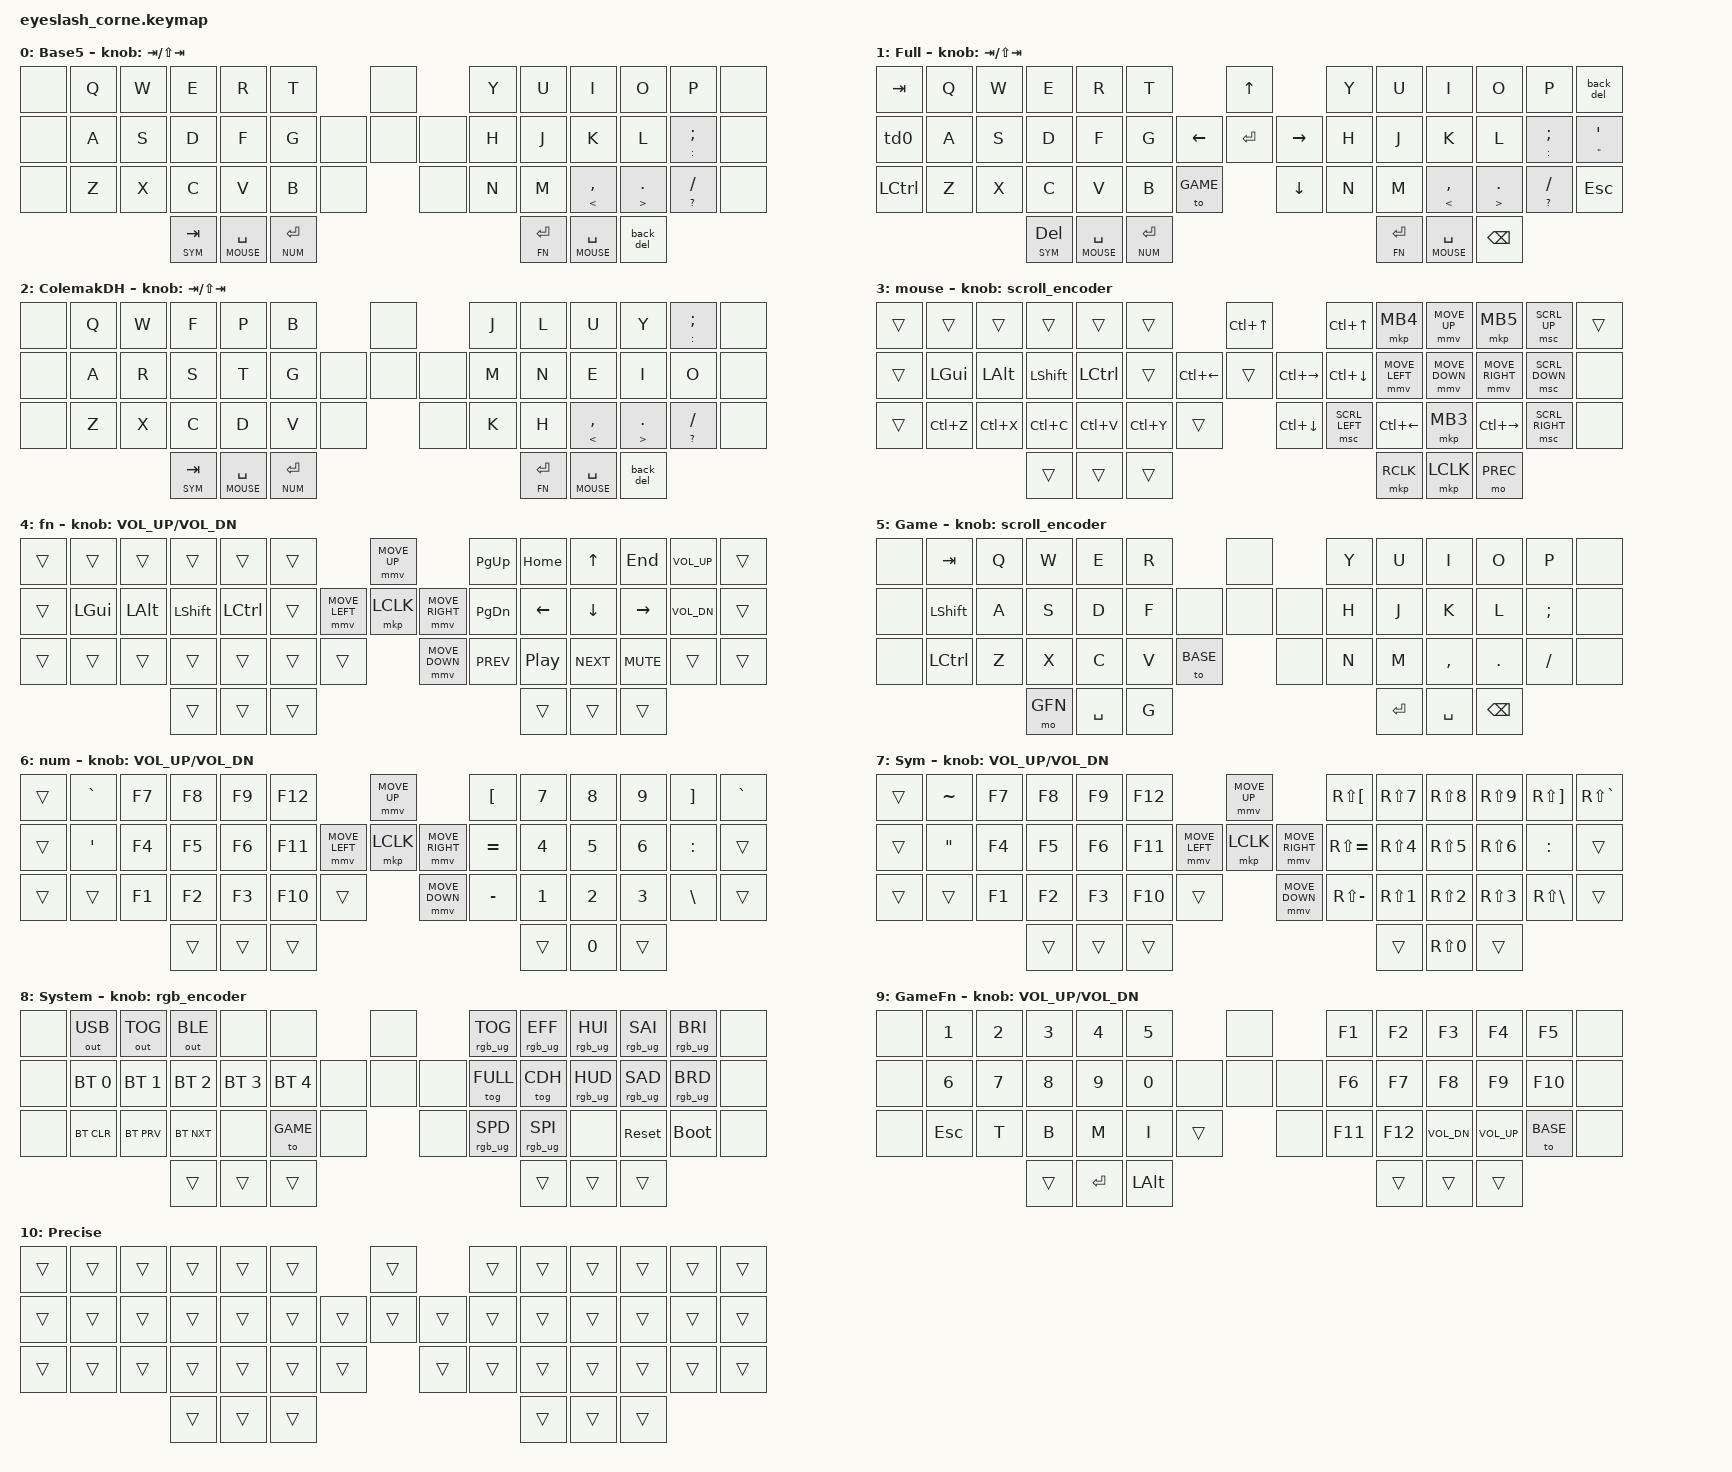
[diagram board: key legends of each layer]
#define ZMK_POINTING_DEFAULT_MOVE_VAL 1800
#define ZMK_POINTING_DEFAULT_SCRL_VAL 12

#include <input/processors.dtsi>
#include <zephyr/dt-bindings/input/input-event-codes.h>
#include <behaviors.dtsi>
#include <dt-bindings/zmk/bt.h>
#include <dt-bindings/zmk/keys.h>
#include <dt-bindings/zmk/outputs.h>
#include <dt-bindings/zmk/pointing.h>
#include <dt-bindings/zmk/rgb.h>

#define BASE 0
#define FULL 1
#define CDH 2
#define MOUSE 3
#define FN 4
#define GAME 5
#define NUM 6
#define SYM 7
#define SYS 8
#define GFN 9
#define PREC 10

&mmv_input_listener {
    input-processors = <&zip_xy_scaler 1 1>;

    precise {
        layers = <PREC>;
        input-processors = <&zip_xy_scaler 1 3>;
    };
};

&msc_input_listener { input-processors = <&zip_scroll_scaler 1 1>; };

&msc {
    acceleration-exponent = <1>;
    time-to-max-speed-ms = <350>;
    delay-ms = <0>;
};

&mmv {
    time-to-max-speed-ms = <400>;
    acceleration-exponent = <2>;
    delay-ms = <0>;
    trigger-period-ms = <16>;
};

/ {
    behaviors {
        back_del: back_del {
            compatible = "zmk,behavior-mod-morph";
            label = "BACK_DEL";
            bindings = <&kp BACKSPACE>, <&kp DELETE>;

            #binding-cells = <0>;
            mods = <(MOD_RSFT|MOD_LSFT)>;
        };

        td0: td0 {
            compatible = "zmk,behavior-tap-dance";
            #binding-cells = <0>;
            bindings = <&kp LEFT_SHIFT>, <&kp CAPSLOCK>;
        };

        tog_to: tog_to {
            compatible = "zmk,behavior-hold-tap";
            label = "TOG_TO";
            bindings = <&to>, <&tog>;

            #binding-cells = <2>;
            tapping-term-ms = <100>;
            flavor = "balanced";
        };

        rotary_hue: rotary_hue {
            compatible = "zmk,behavior-sensor-rotate";
            #sensor-binding-cells = <0>;
            bindings = <&rgb_ug RGB_HUI>, <&rgb_ug RGB_HUD>;

            label = "ROTARY_HUE";
        };

        enc_scroll: enc_scroll {
            compatible = "zmk,behavior-input-two-axis";
            #binding-cells = <1>;
            x-input-code = <INPUT_REL_HWHEEL>;
            y-input-code = <INPUT_REL_WHEEL>;
            time-to-max-speed-ms = <300>;
            acceleration-exponent = <0>;
        };

        rgb_tap_hold: rgb_tap_hold {
            compatible = "zmk,behavior-hold-tap";
            label = "RGB_TAP_HOLD";
            bindings = <&rgb_ug>, <&rgb_ug>;

            #binding-cells = <2>;
            tapping-term-ms = <100>;
            flavor = "tap-preferred";
        };
    };

    rgb_encoder: rgb_encoder {
        compatible = "zmk,behavior-sensor-rotate";
        #sensor-binding-cells = <0>;
        bindings = <&rgb_ug RGB_BRI>, <&rgb_ug RGB_BRD>;
    };

    scroll_encoder: scroll_encoder {
        compatible = "zmk,behavior-sensor-rotate";
        #sensor-binding-cells = <0>;
        bindings = <&enc_scroll SCRL_DOWN>, <&enc_scroll SCRL_UP>;

        tap-ms = <100>;
    };

    enc_scroll_listener {
        compatible = "zmk,input-listener";
        device = <&enc_scroll>;
    };

    conditional_layers {
        compatible = "zmk,conditional-layers";

        sys_combo_layer {
            if-layers = <FN NUM>;
            then-layer = <SYS>;
        };
    };

    combos {
        compatible = "zmk,combos";

        combo_esc {
            bindings = <&kp ESCAPE>;
            key-positions = <1 2>;
            layers = <BASE FULL CDH>;
            require-prior-idle-ms = <150>;
        };

        combo_leftLP {
            bindings = <&kp LEFT_PARENTHESIS>;
            key-positions = <17 18>;
            layers = <BASE FULL CDH>;
            require-prior-idle-ms = <150>;
        };

        combo_rightPT {
            bindings = <&kp RIGHT_PARENTHESIS>;
            key-positions = <22 23>;
            layers = <BASE FULL CDH>;
            require-prior-idle-ms = <150>;
        };

        combo_leftBR {
            bindings = <&kp LEFT_BRACE>;
            key-positions = <32 33>;
            layers = <BASE FULL CDH>;
            require-prior-idle-ms = <150>;
        };

        combo_rightBR {
            bindings = <&kp RIGHT_BRACE>;
            key-positions = <36 37>;
            layers = <BASE FULL CDH>;
            require-prior-idle-ms = <150>;
        };

        combo_leftBT {
            bindings = <&kp LEFT_BRACKET>;
            key-positions = <4 5>;
            layers = <BASE FULL CDH>;
            require-prior-idle-ms = <150>;
        };

        combo_rightBT {
            bindings = <&kp RIGHT_BRACKET>;
            key-positions = <7 8>;
            layers = <BASE FULL CDH>;
            require-prior-idle-ms = <150>;
        };

        combo_backslash {
            bindings = <&kp BACKSLASH>;
            key-positions = <39 40>;
            layers = <BASE FULL CDH>;
            require-prior-idle-ms = <150>;
        };

        combo_pipe {
            bindings = <&kp PIPE>;
            key-positions = <38 39>;
            layers = <BASE FULL CDH>;
            require-prior-idle-ms = <150>;
        };

        combo_quote {
            bindings = <&mt DOUBLE_QUOTES APOS>;
            key-positions = <10 11>;
            layers = <BASE FULL CDH>;
            require-prior-idle-ms = <150>;
        };

        LeftControl {
            bindings = <&kp LCTRL>;
            key-positions = <14 15>;
            layers = <BASE FULL CDH>;
        };

        LeftShift {
            bindings = <&td0>;
            key-positions = <15 16>;
            layers = <BASE FULL CDH>;
        };

        LeftAlt {
            bindings = <&kp LEFT_ALT>;
            key-positions = <16 17>;
            layers = <BASE FULL CDH>;
        };

        LeftGUI {
            bindings = <&kp LEFT_WIN>;
            key-positions = <14 17>;
            layers = <BASE FULL CDH>;
        };

        RightShift {
            bindings = <&td0>;
            key-positions = <24 25>;
            layers = <BASE FULL CDH>;
        };

        RightControl {
            bindings = <&kp RCTRL>;
            key-positions = <25 26>;
            layers = <BASE FULL CDH>;
        };

        RightAlt {
            bindings = <&kp RIGHT_ALT>;
            key-positions = <23 24>;
            layers = <BASE FULL CDH>;
        };

        RightGUI {
            bindings = <&kp LEFT_WIN>;
            key-positions = <23 26>;
            layers = <BASE FULL CDH>;
        };
    };

    keymap {
        compatible = "zmk,keymap";

        base5_layer {
            display-name = "Base5";
            bindings = <
&none  &kp Q  &kp W  &kp E  &kp R  &kp T                 &none                 &kp Y  &kp U  &kp I                &kp O                    &kp P               &none
&none  &kp A  &kp S  &kp D  &kp F  &kp G         &none    &none    &none        &kp H  &kp J  &kp K                &kp L                    &mt COLON SEMI      &none
&none  &kp Z  &kp X  &kp C  &kp V  &kp B         &none             &none        &kp N  &kp M  &mt LESS_THAN COMMA  &mt GREATER_THAN PERIOD  &mt QUESTION SLASH  &none
                       &lt SYM TAB  &lt MOUSE SPACE  &lt NUM ENTER                &lt FN RETURN  &lt MOUSE SPACE  &back_del
            >;

            sensor-bindings = <&inc_dec_kp TAB LS(TAB)>;
        };

        full_layer {
            display-name = "Full";
            bindings = <
&kp TAB           &kp Q  &kp W  &kp E  &kp R  &kp T                           &kp UP                &kp Y  &kp U  &kp I                &kp O                    &kp P               &back_del
&td0              &kp A  &kp S  &kp D  &kp F  &kp G                 &kp LEFT  &kp ENTER  &kp RIGHT  &kp H  &kp J  &kp K                &kp L                    &mt COLON SEMI      &mt DOUBLE_QUOTES APOS
&kp LEFT_CONTROL  &kp Z  &kp X  &kp C  &kp V  &kp B        &to GAME           &kp DOWN              &kp N  &kp M  &mt LESS_THAN COMMA  &mt GREATER_THAN PERIOD  &mt QUESTION SLASH  &kp ESCAPE
                                &lt SYM DELETE  &lt MOUSE SPACE  &lt NUM ENTER                        &lt FN RETURN  &lt MOUSE SPACE  &kp BACKSPACE
            >;

            sensor-bindings = <&inc_dec_kp TAB LS(TAB)>;
        };

        colemak_dh_layer {
            display-name = "ColemakDH";
            bindings = <
&none  &kp Q  &kp W  &kp F  &kp P  &kp B                 &none                 &kp J  &kp L  &kp U                &kp Y                    &mt COLON SEMI      &none
&none  &kp A  &kp R  &kp S  &kp T  &kp G         &none    &none    &none        &kp M  &kp N  &kp E                &kp I                    &kp O               &none
&none  &kp Z  &kp X  &kp C  &kp D  &kp V         &none             &none        &kp K  &kp H  &mt LESS_THAN COMMA  &mt GREATER_THAN PERIOD  &mt QUESTION SLASH  &none
                       &lt SYM TAB  &lt MOUSE SPACE  &lt NUM ENTER                &lt FN RETURN  &lt MOUSE SPACE  &back_del
            >;

            sensor-bindings = <&inc_dec_kp TAB LS(TAB)>;
        };

        mouse_layer {
            display-name = "mouse";
            bindings = <
&trans  &trans     &trans     &trans     &trans     &trans                                &kp LC(UP_ARROW)                 &kp LC(UP)      &mkp MB4        &mmv MOVE_UP    &mkp MB5         &msc SCRL_UP     &trans
&trans  &kp LGUI   &kp LALT   &kp LSHFT  &kp LCTRL  &trans                  &kp LC(LEFT)  &trans            &kp LC(RIGHT)  &kp LC(DOWN)    &mmv MOVE_LEFT  &mmv MOVE_DOWN  &mmv MOVE_RIGHT  &msc SCRL_DOWN   &none
&trans  &kp LC(Z)  &kp LC(X)  &kp LC(C)  &kp LC(V)  &kp LC(Y)      &trans                  &kp LC(DOWN)                     &msc SCRL_LEFT  &kp LC(LEFT)    &mkp MB3        &kp LC(RIGHT)    &msc SCRL_RIGHT  &none
                              &trans        &trans     &trans                                                                  &mkp RCLK       &mkp LCLK       &mo PREC
            >;

            sensor-bindings = <&scroll_encoder>;
        };

        fn_layer {
            display-name = "fn";
            bindings = <
&trans  &trans     &trans    &trans     &trans     &trans                                &mmv MOVE_UP                     &kp PG_UP   &kp HOME  &kp UP    &kp END    &kp C_VOL_UP  &trans
&trans  &kp LGUI   &kp LALT  &kp LSHFT  &kp LCTRL  &trans                &mmv MOVE_LEFT  &mkp LCLK       &mmv MOVE_RIGHT  &kp PG_DN   &kp LEFT  &kp DOWN  &kp RIGHT  &kp C_VOL_DN  &trans
&trans  &trans     &trans    &trans     &trans     &trans       &trans                    &mmv MOVE_DOWN                   &kp C_PREV  &kp C_PP  &kp C_NEXT  &kp C_MUTE  &trans       &trans
                                &trans  &trans  &trans                                                           &trans      &trans    &trans
            >;

            sensor-bindings = <&inc_dec_kp C_VOLUME_UP C_VOL_DN>;
        };

        gaming_layer {
            display-name = "Game";
            bindings = <
&none  &kp TAB    &kp Q  &kp W  &kp E  &kp R                 &none                 &kp Y  &kp U  &kp I      &kp O    &kp P     &none
&none  &kp LSHFT  &kp A  &kp S  &kp D  &kp F         &none    &none    &none        &kp H  &kp J  &kp K      &kp L    &kp SEMI  &none
&none  &kp LCTRL  &kp Z  &kp X  &kp C  &kp V         &to BASE          &none        &kp N  &kp M  &kp COMMA  &kp DOT  &kp FSLH  &none
                             &mo GFN  &kp SPACE  &kp G                &kp RET  &kp SPACE  &kp BSPC
            >;

            sensor-bindings = <&scroll_encoder>;
        };

        numpad_layer {
            display-name = "num";
            bindings = <
&trans  &kp GRAVE  &kp F7  &kp F8  &kp F9  &kp F12                                &mmv MOVE_UP                     &kp LBKT   &kp N7  &kp N8  &kp N9  &kp RBKT       &kp GRAVE
&trans  &kp APOS   &kp F4  &kp F5  &kp F6  &kp F11                &mmv MOVE_LEFT  &mkp LCLK       &mmv MOVE_RIGHT  &kp EQUAL  &kp N4  &kp N5  &kp N6  &kp COLON      &trans
&trans  &trans     &kp F1  &kp F2  &kp F3  &kp F10       &trans                    &mmv MOVE_DOWN                   &kp MINUS  &kp N1  &kp N2  &kp N3  &kp BACKSLASH  &trans
                                   &trans  &trans  &trans                                                           &trans     &kp N0  &trans
            >;

            sensor-bindings = <&inc_dec_kp C_VOLUME_UP C_VOL_DN>;
        };

        sym_layer {
            display-name = "Sym";
            bindings = <
&trans  &kp TILDE          &kp F7  &kp F8  &kp F9  &kp F12                                &mmv MOVE_UP                     &kp RS(LBKT)   &kp RS(N7)  &kp RS(N8)  &kp RS(N9)  &kp RS(RBKT)       &kp RS(GRAVE)
&trans  &kp DOUBLE_QUOTES  &kp F4  &kp F5  &kp F6  &kp F11                &mmv MOVE_LEFT  &mkp LCLK       &mmv MOVE_RIGHT  &kp RS(EQUAL)  &kp RS(N4)  &kp RS(N5)  &kp RS(N6)  &kp COLON          &trans
&trans  &trans             &kp F1  &kp F2  &kp F3  &kp F10       &trans                    &mmv MOVE_DOWN                   &kp RS(MINUS)  &kp RS(N1)  &kp RS(N2)  &kp RS(N3)  &kp RS(BACKSLASH)  &trans
                                           &trans  &trans  &trans                                                           &trans         &kp RS(N0)  &trans
            >;

            sensor-bindings = <&inc_dec_kp C_VOLUME_UP C_VOL_DN>;
        };

        system_layer {
            display-name = "System";
            bindings = <
&none  &out OUT_USB   &out OUT_TOG   &out OUT_BLE   &none          &none                      &none                  &rgb_ug RGB_TOG  &rgb_ug RGB_EFF  &rgb_ug RGB_HUI  &rgb_ug RGB_SAI  &rgb_ug RGB_BRI  &none
&none  &bt BT_SEL 0   &bt BT_SEL 1   &bt BT_SEL 2   &bt BT_SEL 3   &bt BT_SEL 4      &none  &none  &none          &tog FULL        &tog CDH          &rgb_ug RGB_HUD  &rgb_ug RGB_SAD  &rgb_ug RGB_BRD  &none
&none  &bt BT_CLR     &bt BT_PRV     &bt BT_NXT     &none          &to GAME          &none         &none            &rgb_ug RGB_SPD  &rgb_ug RGB_SPI  &none            &sys_reset       &bootloader      &none
                                     &trans         &trans         &trans                                           &trans           &trans           &trans
            >;

            sensor-bindings = <&rgb_encoder>;
        };

        game_fn_layer {
            display-name = "GameFn";
            bindings = <
&none  &kp N1   &kp N2  &kp N3  &kp N4  &kp N5                 &none                 &kp F1   &kp F2   &kp F3        &kp F4        &kp F5    &none
&none  &kp N6   &kp N7  &kp N8  &kp N9  &kp N0         &none    &none    &none        &kp F6   &kp F7   &kp F8        &kp F9        &kp F10   &none
&none  &kp ESC  &kp T   &kp B   &kp M   &kp I          &trans            &none        &kp F11  &kp F12  &kp C_VOL_DN  &kp C_VOL_UP  &to BASE  &none
                                &trans  &kp ENTER  &kp LALT                           &trans   &trans   &trans
            >;

            sensor-bindings = <&inc_dec_kp C_VOLUME_UP C_VOL_DN>;
        };

        precise_layer {
            display-name = "Precise";
            bindings = <
&trans  &trans  &trans  &trans  &trans  &trans                  &trans                  &trans  &trans  &trans  &trans  &trans  &trans
&trans  &trans  &trans  &trans  &trans  &trans          &trans  &trans  &trans          &trans  &trans  &trans  &trans  &trans  &trans
&trans  &trans  &trans  &trans  &trans  &trans          &trans          &trans          &trans  &trans  &trans  &trans  &trans  &trans
                                &trans  &trans  &trans                                  &trans  &trans  &trans
            >;
        };
    };
};
